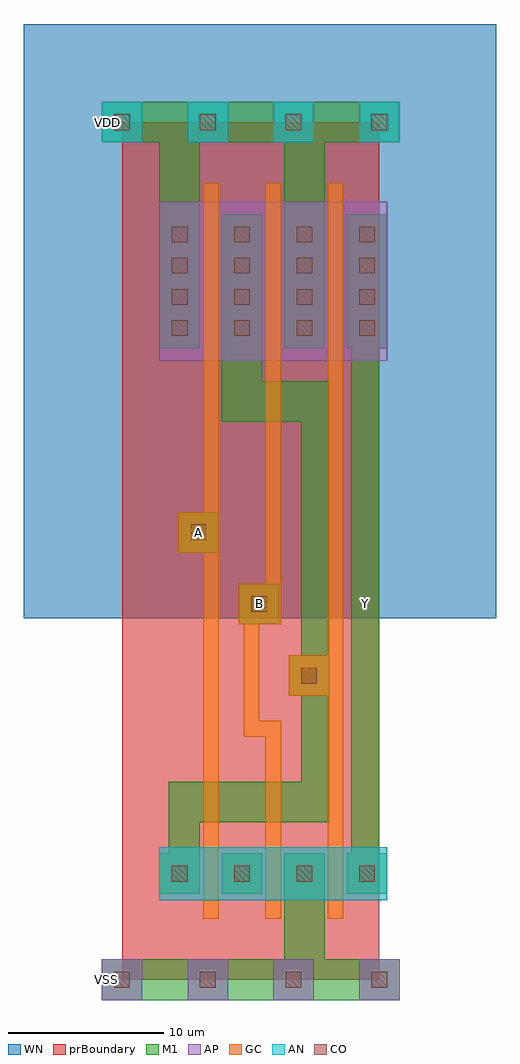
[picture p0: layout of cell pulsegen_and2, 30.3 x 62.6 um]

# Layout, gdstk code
import gdstk
lib = gdstk.Library(unit=1e-6, precision=1e-07)
def R(c, l, rs):  # rectangles x0, y0, x1, y1
    for r in rs: c.add(gdstk.rectangle(r[:2], r[2:], *l))
def A(c, l, x, y, w, h, nx, ny, dx, dy):  # array of equal rectangles
    R(c, l, [(x+i*dx, y+j*dy, x+i*dx+w, y+j*dy+h) for i in range(nx) for j in range(ny)])
def P(c, l, *ps):  # polygons
    for p in ps: c.add(gdstk.Polygon(p, *l))
AP = (3, 1)
AN = (3, 2)
GC = (8, 1)
CO = (11, 0)
M1 = (13, 0)
WN = (140, 0)
prBoundary = (235, 0)

fet_p = lib.new_cell('fet_p')
R(fet_p, AP, [(-7.3,-5.1,7.3,5.1)])
A(fet_p, CO, -6.5, -3.5, 1, 1, 4, 4, 4, 2)
A(fet_p, M1, -7.3, -4.3, 2.6, 8.6, 4, 1, 4, 0)
fet_p.add(gdstk.FlexPath([(0,-6.3),(0,6.3)], 1, ends="flush", simple_path=True, layer=8, datatype=1))  # GC
fet_p.add(gdstk.FlexPath([(-4,-6.3),(-4,6.3)], 1, ends="flush", simple_path=True, layer=8, datatype=1))  # GC
fet_p.add(gdstk.FlexPath([(4,-6.3),(4,6.3)], 1, ends="flush", simple_path=True, layer=8, datatype=1))  # GC

fet_n = lib.new_cell('fet_n')
R(fet_n, AN, [(-7.3,-1.7,7.3,1.7)])
A(fet_n, CO, -6.5, -0.5, 1, 1, 4, 1, 4, 0)
A(fet_n, M1, -7.3, -1.3, 2.6, 2.6, 4, 1, 4, 0)
fet_n.add(gdstk.FlexPath([(0,-2.9),(0,2.9)], 1, ends="flush", simple_path=True, layer=8, datatype=1))  # GC
fet_n.add(gdstk.FlexPath([(-4,-2.9),(-4,2.9)], 1, ends="flush", simple_path=True, layer=8, datatype=1))  # GC
fet_n.add(gdstk.FlexPath([(4,-2.9),(4,2.9)], 1, ends="flush", simple_path=True, layer=8, datatype=1))  # GC

cont_g = lib.new_cell('cont_g')
R(cont_g, GC, [(-1.3,-1.3,1.3,1.3)])
R(cont_g, CO, [(-0.5,-0.5,0.5,0.5)])
R(cont_g, M1, [(-1.3,-1.3,1.3,1.3)])

cont_p = lib.new_cell('cont_p')
R(cont_p, AP, [(-1.3,-1.3,1.3,1.3)])
R(cont_p, CO, [(-0.5,-0.5,0.5,0.5)])
R(cont_p, M1, [(-1.3,-1.3,1.3,1.3)])

cont_n = lib.new_cell('cont_n')
R(cont_n, AN, [(-1.3,-1.3,1.3,1.3)])
R(cont_n, CO, [(-0.5,-0.5,0.5,0.5)])
R(cont_n, M1, [(-1.3,-1.3,1.3,1.3)])

pulsegen_and2 = lib.new_cell('pulsegen_and2')
R(pulsegen_and2, GC, [(5.2,9.7,6.2,38.5), (13.2,9.7,14.2,38.5)])
P(pulsegen_and2, GC, [(9.2,9.7),(9.2,15.6),(7.8,15.6),(7.8,23.8),(9.2,23.8),(9.2,38.5),(10.2,38.5),(10.2,22.8),(8.8,22.8),(8.8,16.6),(10.2,16.6),(10.2,9.7)])
R(pulsegen_and2, M1, [(-1.3,-1.3,17.8,1.3), (10.4,1.3,13,5.5), (14.7,8.1,16.5,40.5), (2.4,49.1,5,53.7), (10.4,49.1,13,53.7), (-1.3,53.7,17.8,56.3)])
P(pulsegen_and2, M1, [(3,8.1),(3,12.7),(11.5,12.7),(11.5,35.8),(6.4,35.8),(6.4,40.5),(9,40.5),(9,38.4),(13.3,38.4),(13.3,10.1),(5,10.1),(5,8.1)])
R(pulsegen_and2, WN, [(-6.3,23.2,24,61.3)])
R(pulsegen_and2, prBoundary, [(0,0,16.5,55)])
pulsegen_and2.add(gdstk.Reference(fet_p, (9.7,44.8), x_reflection=True))
pulsegen_and2.add(gdstk.Reference(fet_n, (9.7,6.8), x_reflection=True))
pulsegen_and2.add(gdstk.Reference(cont_g, (4.9,28.7)))
pulsegen_and2.add(gdstk.Reference(cont_g, (12,19.5)))
r = gdstk.Reference(cont_p, (0,0), x_reflection=True); r.repetition = gdstk.Repetition(4, 1, v1=(5.5,0), v2=(0,0)); pulsegen_and2.add(r)
r = gdstk.Reference(cont_n, (0,55), x_reflection=True); r.repetition = gdstk.Repetition(4, 1, v1=(5.5,0), v2=(0,0)); pulsegen_and2.add(r)
pulsegen_and2.add(gdstk.Reference(cont_g, (8.8,24.1)))
pulsegen_and2.add(gdstk.Label('B', (8.8,24.1), layer=48, texttype=0))
pulsegen_and2.add(gdstk.Label('A', (4.9,28.7), layer=48, texttype=0))
pulsegen_and2.add(gdstk.Label('Y', (15.6,24.1), layer=48, texttype=0))
pulsegen_and2.add(gdstk.Label('VSS', (-1,0), layer=48, texttype=0))
pulsegen_and2.add(gdstk.Label('VDD', (-0.9,55), layer=48, texttype=0))

lib.write_gds('pulsegen_and2.gds')
